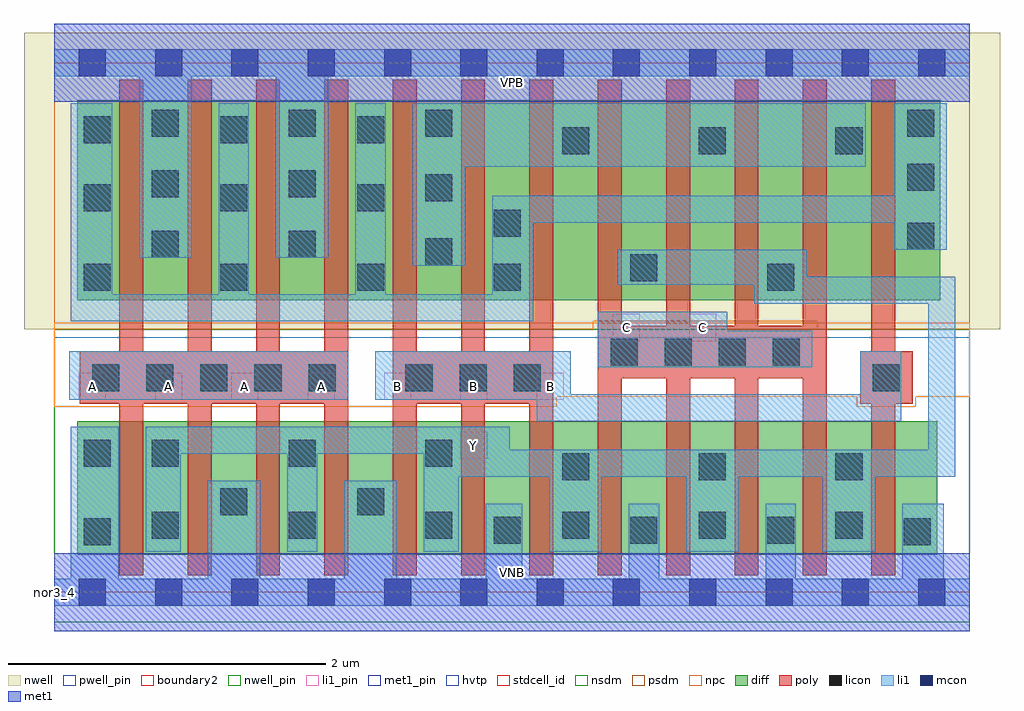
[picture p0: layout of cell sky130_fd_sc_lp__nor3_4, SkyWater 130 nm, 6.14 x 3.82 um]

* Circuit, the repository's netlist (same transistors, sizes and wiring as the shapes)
* Copyright 2020 The SkyWater PDK Authors
*
* Licensed under the Apache License, Version 2.0 (the "License");
* you may not use this file except in compliance with the License.
* You may obtain a copy of the License at
*
*     https://www.apache.org/licenses/LICENSE-2.0
*
* Unless required by applicable law or agreed to in writing, software
* distributed under the License is distributed on an "AS IS" BASIS,
* WITHOUT WARRANTIES OR CONDITIONS OF ANY KIND, either express or implied.
* See the License for the specific language governing permissions and
* limitations under the License.
*
* SPDX-License-Identifier: Apache-2.0

.SUBCKT sky130_fd_sc_lp__nor3_4 A B C VGND VNB VPB VPWR Y
*.PININFO A:I B:I C:I VGND:I VNB:I VPB:I VPWR:I Y:O
MMP0 VPWR A sndPA VPB sky130_fd_pr__pfet_01v8_hvt m=4 w=1.26U l=0.15U mult=1 sa=0.265
+ sb=0.265 sd=0.28 area=0.063 perim=1.14
MMP1 sndPA B sndPB VPB sky130_fd_pr__pfet_01v8_hvt m=4 w=1.26U l=0.15U mult=1 sa=0.265
+ sb=0.265 sd=0.28 area=0.063 perim=1.14
MMP2 sndPB C Y VPB sky130_fd_pr__pfet_01v8_hvt m=4 w=1.26U l=0.15U mult=1 sa=0.265
+ sb=0.265 sd=0.28 area=0.063 perim=1.14
MMN0 Y A VGND VNB sky130_fd_pr__nfet_01v8 m=4 w=0.84U l=0.15U mult=1 sa=0.265 sb=0.265
+ sd=0.28 area=0.063 perim=1.14
MMN1 Y B VGND VNB sky130_fd_pr__nfet_01v8 m=4 w=0.84U l=0.15U mult=1 sa=0.265 sb=0.265
+ sd=0.28 area=0.063 perim=1.14
MMN2 Y C VGND VNB sky130_fd_pr__nfet_01v8 m=4 w=0.84U l=0.15U mult=1 sa=0.265 sb=0.265
+ sd=0.28 area=0.063 perim=1.14
.ENDS sky130_fd_sc_lp__nor3_4

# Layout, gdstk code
import gdstk
lib = gdstk.Library(unit=1e-6, precision=1e-09)
def R(c, l, rs):  # rectangles x0, y0, x1, y1
    for r in rs: c.add(gdstk.rectangle(r[:2], r[2:], *l))
def A(c, l, x, y, w, h, nx, ny, dx, dy):  # array of equal rectangles
    R(c, l, [(x+i*dx, y+j*dy, x+i*dx+w, y+j*dy+h) for i in range(nx) for j in range(ny)])
def P(c, l, *ps):  # polygons
    for p in ps: c.add(gdstk.Polygon(p, *l))
nwell_pin = (64, 16)
nwell = (64, 20)
diff = (65, 20)
poly = (66, 20)
licon = (66, 44)
li1_pin = (67, 16)
li1 = (67, 20)
mcon = (67, 44)
met1_pin = (68, 16)
met1 = (68, 20)
hvtp = (78, 44)
stdcell_id = (81, 4)
nsdm = (93, 44)
psdm = (94, 20)
npc = (95, 20)
pwell_pin = (122, 16)
boundary2 = (236, 0)

sky130_fd_sc_lp__nor3_4 = lib.new_cell('sky130_fd_sc_lp__nor3_4')
R(sky130_fd_sc_lp__nor3_4, nwell_pin, [(0,3.085,5.76,3.33)])
R(sky130_fd_sc_lp__nor3_4, nwell, [(-0.19,1.655,5.95,3.52)])
R(sky130_fd_sc_lp__nor3_4, diff, [(0.145,0.235,5.555,1.075), (0.145,1.835,5.575,3.095)])
P(sky130_fd_sc_lp__nor3_4, poly, [(1.85,3.225),(1.7,3.225),(1.7,1.515),(1.42,1.515),(1.42,3.225),(1.27,3.225),(1.27,1.515),(0.99,1.515),(0.99,3.225),(0.84,3.225),(0.84,1.515),(0.56,1.515),(0.56,3.225),(0.41,3.225),(0.41,1.515),(0.16,1.515),(0.16,1.185),(0.41,1.185),(0.41,0.105),(0.56,0.105),(0.56,1.185),(0.84,1.185),(0.84,0.105),(0.99,0.105),(0.99,1.185),(1.27,1.185),(1.27,0.105),(1.42,0.105),(1.42,1.185),(1.7,1.185),(1.7,0.105),(1.85,0.105)],
  [(3.14,3.225),(2.99,3.225),(2.99,1.515),(2.71,1.515),(2.71,3.225),(2.56,3.225),(2.56,1.515),(2.28,1.515),(2.28,3.225),(2.13,3.225),(2.13,0.105),(2.28,0.105),(2.28,1.185),(2.56,1.185),(2.56,0.105),(2.71,0.105),(2.71,1.185),(2.99,1.185),(2.99,0.105),(3.14,0.105)],
  [(4.86,3.225),(4.71,3.225),(4.71,1.675),(4.43,1.675),(4.43,3.225),(4.28,3.225),(4.28,1.675),(4,1.675),(4,3.225),(3.85,3.225),(3.85,1.675),(3.57,1.675),(3.57,3.225),(3.42,3.225),(3.42,0.105),(3.57,0.105),(3.57,1.345),(3.85,1.345),(3.85,0.105),(4,0.105),(4,1.345),(4.28,1.345),(4.28,0.105),(4.43,0.105),(4.43,1.345),(4.71,1.345),(4.71,0.105),(4.86,0.105)],
  [(5.4,1.515),(5.29,1.515),(5.29,3.225),(5.14,3.225),(5.14,1.515),(5.07,1.515),(5.07,1.185),(5.14,1.185),(5.14,0.105),(5.29,0.105),(5.29,1.185),(5.4,1.185)])
A(sky130_fd_sc_lp__nor3_4, licon, 2.765, 0.305, 0.17, 0.17, 3, 1, 0.86, 0)
A(sky130_fd_sc_lp__nor3_4, licon, 0.615, 0.335, 0.17, 0.17, 6, 1, 0.86, 0)
A(sky130_fd_sc_lp__nor3_4, licon, 3.195, 0.705, 0.17, 0.17, 3, 2, 0.86, 2.05)
A(sky130_fd_sc_lp__nor3_4, licon, 0.615, 0.79, 0.17, 0.17, 3, 2, 0.86, 2.075)
A(sky130_fd_sc_lp__nor3_4, licon, 0.24, 1.265, 0.17, 0.17, 5, 1, 0.34, 0)
A(sky130_fd_sc_lp__nor3_4, licon, 2.21, 1.265, 0.17, 0.17, 3, 1, 0.34, 0)
A(sky130_fd_sc_lp__nor3_4, licon, 3.5, 1.425, 0.17, 0.17, 4, 1, 0.34, 0)
A(sky130_fd_sc_lp__nor3_4, licon, 0.185, 1.895, 0.17, 0.17, 4, 1, 0.86, 0)
A(sky130_fd_sc_lp__nor3_4, licon, 0.185, 2.395, 0.17, 0.17, 3, 2, 0.86, 0.43)
R(sky130_fd_sc_lp__nor3_4, licon, [(0.185,0.295,0.355,0.465), (5.345,0.295,5.515,0.465), (1.045,0.485,1.215,0.655), (1.905,0.485,2.075,0.655), (0.185,0.79,0.355,0.96), (5.15,1.265,5.32,1.435), (4.485,1.895,4.655,2.065), (3.625,1.955,3.795,2.125), (2.335,2.055,2.505,2.225), (0.615,2.105,0.785,2.275), (1.475,2.105,1.645,2.275), (5.365,2.155,5.535,2.325), (2.765,2.235,2.935,2.405), (2.335,2.46,2.505,2.63), (0.615,2.485,0.785,2.655), (1.475,2.485,1.645,2.655), (5.365,2.525,5.535,2.695), (5.365,2.865,5.535,3.035)])
A(sky130_fd_sc_lp__nor3_4, li1_pin, 0.155, 1.21, 0.17, 0.17, 7, 1, 0.48, 0)
R(sky130_fd_sc_lp__nor3_4, li1_pin, [(2.555,0.84,2.725,1.01), (3.515,1.58,3.685,1.75), (3.995,1.58,4.165,1.75)])
R(sky130_fd_sc_lp__nor3_4, li1, [(0.095,1.21,1.85,1.515)])
P(sky130_fd_sc_lp__nor3_4, li1, [(1.395,2.105),(1.395,3.245),(0.865,3.245),(0.865,2.105),(0.535,2.105),(0.535,3.245),(0,3.245),(0,3.415),(5.76,3.415),(5.76,3.245),(1.725,3.245),(1.725,2.105)],
  [(2.715,0.085),(2.715,0.555),(2.945,0.555),(2.945,0.085),(3.615,0.085),(3.615,0.555),(3.805,0.555),(3.805,0.085),(4.475,0.085),(4.475,0.555),(4.665,0.555),(4.665,0.085),(5.335,0.085),(5.335,0.555),(5.595,0.555),(5.595,0.085),(5.76,0.085),(5.76,-0.085),(0,-0.085),(0,0.085),(0.105,0.085),(0.105,1.04),(0.405,1.04),(0.405,0.085),(0.965,0.085),(0.965,0.7),(1.295,0.7),(1.295,0.085),(1.825,0.085),(1.825,0.7),(2.155,0.7),(2.155,0.085)],
  [(2.325,0.255),(2.325,0.87),(1.655,0.87),(1.655,0.255),(1.465,0.255),(1.465,0.87),(0.795,0.87),(0.795,0.255),(0.575,0.255),(0.575,1.04),(2.865,1.04),(2.865,0.895),(5.5,0.895),(5.5,1.815),(4.405,1.815),(4.405,1.935),(3.545,1.935),(3.545,2.155),(4.735,2.155),(4.735,1.985),(5.67,1.985),(5.67,0.725),(5.165,0.725),(5.165,0.255),(4.835,0.255),(4.835,0.725),(4.305,0.725),(4.305,0.255),(3.975,0.255),(3.975,0.725),(3.445,0.725),(3.445,0.255),(3.115,0.255),(3.115,0.725),(2.545,0.725),(2.545,0.255)],
  [(3.035,1.075),(3.035,1.21),(2.02,1.21),(2.02,1.515),(3.25,1.515),(3.25,1.245),(5.07,1.245),(5.07,1.515),(5.33,1.515),(5.33,1.075)],
  [(3.42,1.415),(3.42,1.765),(4.235,1.765),(4.235,1.645),(4.77,1.645),(4.77,1.415)],
  [(5.285,2.325),(3.015,2.325),(3.015,1.705),(0.105,1.705),(0.105,3.075),(0.365,3.075),(0.365,1.875),(1.035,1.875),(1.035,3.075),(1.225,3.075),(1.225,1.875),(1.895,1.875),(1.895,3.075),(2.085,3.075),(2.085,1.875),(2.755,1.875),(2.755,2.495),(5.285,2.495),(5.285,3.075),(5.615,3.075),(5.615,2.155),(5.285,2.155)],
  [(5.105,3.075),(5.105,2.675),(2.585,2.675),(2.585,2.055),(2.255,2.055),(2.255,3.075)])
A(sky130_fd_sc_lp__nor3_4, mcon, 0.155, -0.085, 0.17, 0.17, 12, 2, 0.48, 3.33)
R(sky130_fd_sc_lp__nor3_4, met1_pin, [(0,0,5.76,0.245), (0,3.085,5.76,3.33)])
R(sky130_fd_sc_lp__nor3_4, met1, [(0,-0.245,5.76,0.245), (0,3.085,5.76,3.575)])
R(sky130_fd_sc_lp__nor3_4, hvtp, [(0,1.6,5.76,3.33)])
R(sky130_fd_sc_lp__nor3_4, stdcell_id, [(0,0,5.76,3.33)])
R(sky130_fd_sc_lp__nor3_4, nsdm, [(0,-0.19,5.76,1.655)])
P(sky130_fd_sc_lp__nor3_4, psdm, [(5.76,3.52),(0,3.52),(0,1.655),(3.39,1.655),(3.39,1.705),(4.8,1.705),(4.8,1.655),(5.76,1.655)])
P(sky130_fd_sc_lp__nor3_4, npc, [(5.76,1.695),(0,1.695),(0,1.165),(3.16,1.165),(3.16,1.23),(5.05,1.23),(5.05,1.165),(5.42,1.165),(5.42,1.23),(5.76,1.23)])
R(sky130_fd_sc_lp__nor3_4, pwell_pin, [(0,0,5.76,0.245)])
R(sky130_fd_sc_lp__nor3_4, boundary2, [(0,0,5.76,3.33)])
sky130_fd_sc_lp__nor3_4.add(gdstk.Label('VNB', (2.88,0.123), layer=64, texttype=59))
sky130_fd_sc_lp__nor3_4.add(gdstk.Label('VPB', (2.88,3.208), layer=64, texttype=5))
sky130_fd_sc_lp__nor3_4.add(gdstk.Label('nor3_4', (0,0), layer=83, texttype=44))
sky130_fd_sc_lp__nor3_4.add(gdstk.Label('VPWR', (2.88,3.208), layer=68, texttype=5))
sky130_fd_sc_lp__nor3_4.add(gdstk.Label('VGND', (2.88,0.123), layer=68, texttype=5))
sky130_fd_sc_lp__nor3_4.add(gdstk.Label('A', (0.24,1.295), layer=67, texttype=5))
sky130_fd_sc_lp__nor3_4.add(gdstk.Label('A', (0.72,1.295), layer=67, texttype=5))
sky130_fd_sc_lp__nor3_4.add(gdstk.Label('A', (1.2,1.295), layer=67, texttype=5))
sky130_fd_sc_lp__nor3_4.add(gdstk.Label('A', (1.68,1.295), layer=67, texttype=5))
sky130_fd_sc_lp__nor3_4.add(gdstk.Label('Y', (2.64,0.925), layer=67, texttype=5))
sky130_fd_sc_lp__nor3_4.add(gdstk.Label('B', (2.16,1.295), layer=67, texttype=5))
sky130_fd_sc_lp__nor3_4.add(gdstk.Label('B', (2.64,1.295), layer=67, texttype=5))
sky130_fd_sc_lp__nor3_4.add(gdstk.Label('B', (3.12,1.295), layer=67, texttype=5))
sky130_fd_sc_lp__nor3_4.add(gdstk.Label('C', (3.6,1.665), layer=67, texttype=5))
sky130_fd_sc_lp__nor3_4.add(gdstk.Label('C', (4.08,1.665), layer=67, texttype=5))

lib.write_gds('sky130_fd_sc_lp__nor3_4.gds')
